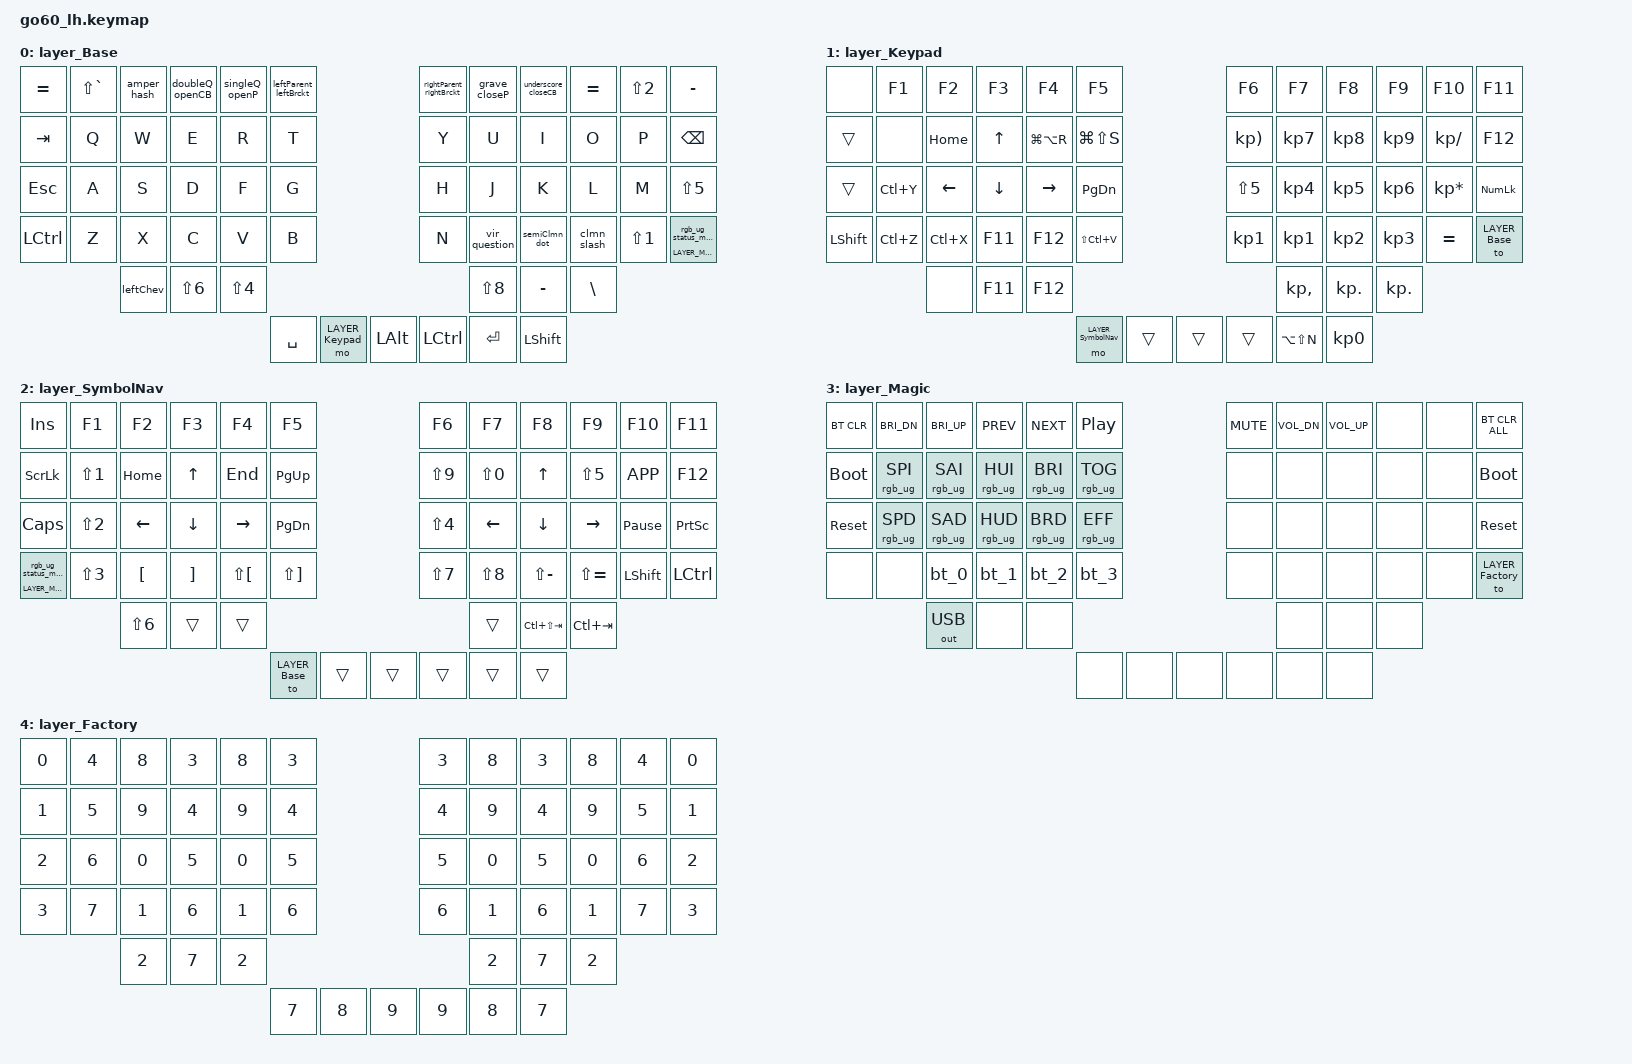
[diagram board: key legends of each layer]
/*
 * Copyright (c) 2020 The ZMK Contributors
 * Copyright (c) 2025 Innaworks Development Limited, trading as MoErgo
 *
 * SPDX-License-Identifier: MIT
 */


/* THIS FILE WAS GENERATED BY GO60 LAYOUT EDITOR
 *
 * This file was generated automatically. You may or may not want to
 * edit it directly.
 */

#include <behaviors.dtsi>

/* Include all behavior includes needed */

#include <dt-bindings/zmk/outputs.h>
#include <dt-bindings/zmk/keys.h>
#include <dt-bindings/zmk/bt.h>
#include <dt-bindings/zmk/rgb.h>

#include <input/processors.dtsi>
#include <dt-bindings/zmk/input_transform.h>
#include <zephyr/dt-bindings/input/input-event-codes.h>

/* On demand includes */
#include <dt-bindings/zmk/input_transform.h>
#include <dt-bindings/zmk/pointing.h>
#include <input/processors.dtsi>

/* Helper Macros, based on https://github.com/urob/zmk-helpers/ */

#pragma once

#define ZMK_HELPER_STRINGIFY(x) #x

// Preprocessor mechanism to overload macros, cf. https://stackoverflow.com/a/27051616/6114651
#define VARGS_(_10, _9, _8, _7, _6, _5, _4, _3, _2, _1, N, ...) N
#define VARGS(...) VARGS_(__VA_ARGS__, 10, 9, 8, 7, 6, 5, 4, 3, 2, 1, 0)
#define CONCAT_(a, b) a##b
#define CONCAT(a, b) CONCAT_(a, b)

#define ZMK_BEHAVIOR_CORE_tap_dance  \
    compatible = "zmk,behavior-tap-dance"; \
    #binding-cells = <0>

#define ZMK_BEHAVIOR(name, type, ...) \
    name: name { \
        ZMK_BEHAVIOR_CORE_ ## type; \
        __VA_ARGS__ \
    };

#define ZMK_TAP_DANCE(name, ...) \
    ZMK_BEHAVIOR(name, tap_dance, __VA_ARGS__)

#define ZMK_TD_LAYER(name, layer) \
    ZMK_TAP_DANCE(name, \
        tapping-term-ms = <200>; \
        bindings = <&mo layer>, <&to layer>; \
)





/* Key positions */

#define POS_LH_C6R1 0
#define POS_LH_C5R1 1
#define POS_LH_C4R1 2
#define POS_LH_C3R1 3
#define POS_LH_C2R1 4
#define POS_LH_C1R1 5
#define POS_RH_C1R1 6
#define POS_RH_C2R1 7
#define POS_RH_C3R1 8
#define POS_RH_C4R1 9
#define POS_RH_C5R1 10
#define POS_RH_C6R1 11
#define POS_LH_C6R2 12
#define POS_LH_C5R2 13
#define POS_LH_C4R2 14
#define POS_LH_C3R2 15
#define POS_LH_C2R2 16
#define POS_LH_C1R2 17
#define POS_RH_C1R2 18
#define POS_RH_C2R2 19
#define POS_RH_C3R2 20
#define POS_RH_C4R2 21
#define POS_RH_C5R2 22
#define POS_RH_C6R2 23
#define POS_LH_C6R3 24
#define POS_LH_C5R3 25
#define POS_LH_C4R3 26
#define POS_LH_C3R3 27
#define POS_LH_C2R3 28
#define POS_LH_C1R3 29
#define POS_RH_C1R3 30
#define POS_RH_C2R3 31
#define POS_RH_C3R3 32
#define POS_RH_C4R3 33
#define POS_RH_C5R3 34
#define POS_RH_C6R3 35
#define POS_LH_C6R4 36
#define POS_LH_C5R4 37
#define POS_LH_C4R4 38
#define POS_LH_C3R4 39
#define POS_LH_C2R4 40
#define POS_LH_C1R4 41
#define POS_RH_C1R4 42
#define POS_RH_C2R4 43
#define POS_RH_C3R4 44
#define POS_RH_C4R4 45
#define POS_RH_C5R4 46
#define POS_RH_C6R4 47
#define POS_LH_C4R5 48
#define POS_LH_C3R5 49
#define POS_LH_C2R5 50
#define POS_RH_C2R5 51
#define POS_RH_C3R5 52
#define POS_RH_C4R5 53
#define POS_LH_T1 54
#define POS_LH_T2 55
#define POS_LH_T3 56
#define POS_RH_T3 57
#define POS_RH_T2 58
#define POS_RH_T1 59


#define LEFT_HAND_KEYS \
  POS_LH_C1R1 POS_LH_C2R1 POS_LH_C3R1 POS_LH_C4R1 POS_LH_C5R1 POS_LH_C6R1 \
  POS_LH_C1R2 POS_LH_C2R2 POS_LH_C3R2 POS_LH_C4R2 POS_LH_C5R2 POS_LH_C6R2 \
  POS_LH_C1R3 POS_LH_C2R3 POS_LH_C3R3 POS_LH_C4R3 POS_LH_C5R3 POS_LH_C6R3 \
  POS_LH_C1R4 POS_LH_C2R4 POS_LH_C3R4 POS_LH_C4R4 POS_LH_C5R4 POS_LH_C6R4 \
              POS_LH_C2R5 POS_LH_C3R5 POS_LH_C4R5

#define RIGHT_HAND_KEYS \
  POS_RH_C1R1 POS_RH_C2R1 POS_RH_C3R1 POS_RH_C4R1 POS_RH_C5R1 POS_RH_C6R1 \
  POS_RH_C1R2 POS_RH_C2R2 POS_RH_C3R2 POS_RH_C4R2 POS_RH_C5R2 POS_RH_C6R2 \
  POS_RH_C1R3 POS_RH_C2R3 POS_RH_C3R3 POS_RH_C4R3 POS_RH_C5R3 POS_RH_C6R3 \
  POS_RH_C1R4 POS_RH_C2R4 POS_RH_C3R4 POS_RH_C4R4 POS_RH_C5R4 POS_RH_C6R4 \
              POS_RH_C2R5 POS_RH_C3R5 POS_RH_C4R5

#define THUMB_KEYS \
  POS_LH_T1 POS_LH_T2 POS_LH_T3 \
  POS_RH_T1 POS_RH_T2 POS_RH_T3

/* Environment and metadata defines */
#define KB_TYPE_GLOVE_80 1
#define KB_TYPE_GO_60    2

#define KB_TYPE          KB_TYPE_GO_60
#define EDITOR_HOST_OS   'W'

/* Automatically generated layer name defines */
#define LAYER_Base 0
#define LAYER_Keypad 1
#define LAYER_SymbolNav 2
#define LAYER_Magic 3
#define LAYER_Factory 4

/* To deal with the situation where there is no Lower layer, to keep &lower happy */
#ifndef LAYER_Lower
#define LAYER_Lower 0
#endif

/* Generated input processors */
/ {
    input_processors {
        zip_click_to_right_click_mapper: zip_click_to_right_click_mapper {
            compatible = "zmk,input-processor-code-mapper";
            #input-processor-cells = <0>;
            type = <INPUT_EV_KEY>;
            map = <INPUT_BTN_0 INPUT_BTN_1>;
        };
    };
};

/* Custom Device-tree */


/* Input Listeners */
&cirque_rh_listener {
    layer_SymbolNav {
        layers = <LAYER_SymbolNav>;
        input-processors = <&zip_xy_scaler 9 1>;
    };
};

&cirque_lh_listener {
    input-processors = <&zip_xy_scaler 8 15>, <&zip_xy_transform INPUT_TRANSFORM_Y_INVERT>, <&zip_xy_to_scroll_mapper>, <&zip_click_to_right_click_mapper>;
    layer_Factory {
        layers = <LAYER_Factory>;
        input-processors = <&zip_xy_scaler 3 1>;
    };
};

/* System behavior and macros */
/ {
    behaviors {
        ZMK_TD_LAYER(lower, LAYER_Lower)
    };
};

/ {
    macros {
        rgb_ug_status_macro: rgb_ug_status_macro {
            label = "RGB_UG_STATUS";
            compatible = "zmk,behavior-macro";
            #binding-cells = <0>;
            bindings
                = <&rgb_ug RGB_STATUS>;
        };
    };
};

/ {
#ifdef BT_DISC_CMD
    behaviors {
        bt_0: bt_0 {
            compatible = "zmk,behavior-tap-dance";
            label = "BT_0";
            #binding-cells = <0>;
            tapping-term-ms = <200>;
            bindings = <&bt_select_0>, <&bt BT_DISC 0>;
        };
        bt_1: bt_1 {
            compatible = "zmk,behavior-tap-dance";
            label = "BT_1";
            #binding-cells = <0>;
            tapping-term-ms = <200>;
            bindings = <&bt_select_1>, <&bt BT_DISC 1>;
        };
        bt_2: bt_2 {
            compatible = "zmk,behavior-tap-dance";
            label = "BT_2";
            #binding-cells = <0>;
            tapping-term-ms = <200>;
            bindings = <&bt_select_2>, <&bt BT_DISC 2>;
        };
        bt_3: bt_3 {
            compatible = "zmk,behavior-tap-dance";
            label = "BT_3";
            #binding-cells = <0>;
            tapping-term-ms = <200>;
            bindings = <&bt_select_3>, <&bt BT_DISC 3>;
        };
    };
    macros {
        bt_select_0: bt_select_0 {
            label = "BT_SELECT_0";
            compatible = "zmk,behavior-macro";
            #binding-cells = <0>;
            bindings
                = <&out OUT_BLE>,
                  <&bt BT_SEL 0>;
        };
        bt_select_1: bt_select_1 {
            label = "BT_SELECT_1";
            compatible = "zmk,behavior-macro";
            #binding-cells = <0>;
            bindings
                = <&out OUT_BLE>,
                  <&bt BT_SEL 1>;
        };
        bt_select_2: bt_select_2 {
            label = "BT_SELECT_2";
            compatible = "zmk,behavior-macro";
            #binding-cells = <0>;
            bindings
                = <&out OUT_BLE>,
                  <&bt BT_SEL 2>;
        };
        bt_select_3: bt_select_3 {
            label = "BT_SELECT_3";
            compatible = "zmk,behavior-macro";
            #binding-cells = <0>;
            bindings
                = <&out OUT_BLE>,
                  <&bt BT_SEL 3>;
        };
    };
#else
    macros {
        bt_0: bt_0 {
            label = "BT_0";
            compatible = "zmk,behavior-macro";
            #binding-cells = <0>;
            bindings
                = <&out OUT_BLE>,
                  <&bt BT_SEL 0>;
        };
        bt_1: bt_1 {
            label = "BT_1";
            compatible = "zmk,behavior-macro";
            #binding-cells = <0>;
            bindings
                = <&out OUT_BLE>,
                  <&bt BT_SEL 1>;
        };
        bt_2: bt_2 {
            label = "BT_2";
            compatible = "zmk,behavior-macro";
            #binding-cells = <0>;
            bindings
                = <&out OUT_BLE>,
                  <&bt BT_SEL 2>;
        };
        bt_3: bt_3 {
            label = "BT_3";
            compatible = "zmk,behavior-macro";
            #binding-cells = <0>;
            bindings
                = <&out OUT_BLE>,
                  <&bt BT_SEL 3>;
        };
    };
#endif
};

/ {
    behaviors {
        magic: magic {
            compatible = "zmk,behavior-hold-tap";
            label = "MAGIC_HOLD_TAP";
            #binding-cells = <2>;
            flavor = "tap-preferred";
            tapping-term-ms = <200>;
            bindings = <&mo>, <&rgb_ug_status_macro>;
        };
    };
};


/* Custom Defined Behaviors */
/ {
behaviors {
    vir_question: vir_question {
        compatible = "zmk,behavior-mod-morph";
        #binding-cells = <0>;
        bindings = <&kp COMMA>, <&kp QMARK>;
        mods = <(MOD_LSFT|MOD_RSFT)>;
    }; 
};

behaviors {
    doubleQ_openCB: doubleQ_openCB{
        compatible = "zmk,behavior-mod-morph";
        #binding-cells = <0>;
        bindings = <&kp LS(SINGLE_QUOTE)>, <&kp LS(LBKT)>;
        mods = <(MOD_LSFT|MOD_RSFT)>;
    }; 
};

behaviors {
    singleQ_openP: singleQ_openP{
        compatible = "zmk,behavior-mod-morph";
        #binding-cells = <0>;
        bindings = <&kp SINGLE_QUOTE>, <&kp LS(N9)>;
        mods = <(MOD_LSFT|MOD_RSFT)>;
    }; 
};

behaviors {
    grave_closeP: grave_closeP{
        compatible = "zmk,behavior-mod-morph";
        #binding-cells = <0>;
        bindings = <&kp GRAVE>, <&kp LS(N0)>;
        mods = <(MOD_LSFT|MOD_RSFT)>;
    }; 
};

behaviors {
    underscore_closeCB: underscore_closeCB{
        compatible = "zmk,behavior-mod-morph";
        #binding-cells = <0>;
        bindings = <&kp LS(MINUS)>, <&kp LS(RBKT)>;
        mods = <(MOD_LSFT|MOD_RSFT)>;
    }; 
};

behaviors {
    semiClmn_dot: semiClmn_dot{
        compatible = "zmk,behavior-mod-morph";
        #binding-cells = <0>;
        bindings = <&kp SEMICOLON>, <&kp DOT>;
        mods = <(MOD_LSFT|MOD_RSFT)>;
    }; 
};

behaviors {
    clmn_slash: clmn_slash{
        compatible = "zmk,behavior-mod-morph";
        #binding-cells = <0>;
        bindings = <&kp LS(SEMI)>, <&kp SLASH>;
        mods = <(MOD_LSFT|MOD_RSFT)>;
    }; 
};

behaviors {
    plus_eql: plus_eql{
        compatible = "zmk,behavior-mod-morph";
        #binding-cells = <0>;
        bindings = <&kp LS(EQUAL)>, <&kp EQUAL>;
        mods = <(MOD_LSFT|MOD_RSFT)>;
    }; 
};

behaviors {
    leftParent_leftBrckt: leftParent_leftBrckt {
        compatible = "zmk,behavior-mod-morph";
        #binding-cells = <0>;
        bindings = <&kp LS(N9)>, <&kp LEFT_BRACKET>;
        mods = <(MOD_LSFT|MOD_RSFT)>;
    }; 
};

behaviors {
    rightParent_rightBrckt: rightParent_rightBrckt {
        compatible = "zmk,behavior-mod-morph";
        #binding-cells = <0>;
        bindings = <&kp LS(N0)>, <&kp RIGHT_BRACKET>;
        mods = <(MOD_LSFT|MOD_RSFT)>;
    }; 
};

behaviors {
    amper_hash: amper_hash {
        compatible = "zmk,behavior-mod-morph";
        #binding-cells = <0>;
        bindings = <&kp LS(N7)>, <&kp LS(N3)>;
        mods = <(MOD_LSFT|MOD_RSFT)>;
    }; 
};

behaviors {
    leftChev: leftChev {
        compatible = "zmk,behavior-mod-morph";
        #binding-cells = <0>;
        bindings = <&kp LS(COMMA)>, <&kp LS(DOT)>;
        mods = <(MOD_LSFT|MOD_RSFT)>;
    }; 
};
};

/* Automatically generated macro definitions */
/ {
    macros {

    };
};

/* Automatically generated behavior definitions */
/ {
    behaviors {


    };
};

/* Automatically generated combos definitions */


/* Automatically generated keymap */
/ {
    keymap {
        compatible = "zmk,keymap";


        layer_Base {
            bindings = <
 &kp EQUAL  &kp LS(GRAVE)  &amper_hash  &doubleQ_openCB  &singleQ_openP  &leftParent_leftBrckt                                                                        &rightParent_rightBrckt  &grave_closeP  &underscore_closeCB    &kp EQUAL  &kp LS(N2)             &kp MINUS
   &kp TAB          &kp Q        &kp W            &kp E           &kp R                  &kp T                                                                                          &kp Y          &kp U                &kp I        &kp O       &kp P              &kp BSPC
   &kp ESC          &kp A        &kp S            &kp D           &kp F                  &kp G                                                                                          &kp H          &kp J                &kp K        &kp L       &kp M            &kp LS(N5)
 &kp LCTRL          &kp Z        &kp X            &kp C           &kp V                  &kp B                                                                                          &kp N  &vir_question        &semiClmn_dot  &clmn_slash  &kp LS(N1)  &magic LAYER_Magic 0
                             &leftChev       &kp LS(N6)      &kp LS(N4)                                                                                                                           &kp LS(N8)            &kp MINUS     &kp BSLH
                                                                                                &kp SPACE  &mo LAYER_Keypad  &kp LALT  &kp LCTRL  &kp RET  &kp LSHFT
            >;
        };

        layer_Keypad {
            bindings = <
     &none     &kp F1     &kp F2    &kp F3         &kp F4         &kp F5                                                                              &kp F6        &kp F7      &kp F8      &kp F9          &kp F10         &kp F11
    &trans      &none   &kp HOME    &kp UP  &kp LG(LA(R))  &kp LG(LS(S))                                                                         &kp KP_RPAR     &kp KP_N7   &kp KP_N8   &kp KP_N9     &kp KP_SLASH         &kp F12
    &trans  &kp LC(Y)   &kp LEFT  &kp DOWN      &kp RIGHT      &kp PG_DN                                                                          &kp LS(N5)     &kp KP_N4   &kp KP_N5   &kp KP_N6  &kp KP_MULTIPLY      &kp KP_NUM
 &kp LSHFT  &kp LC(Z)  &kp LC(X)   &kp F11        &kp F12  &kp LS(LC(V))                                                                           &kp KP_N1     &kp KP_N1   &kp KP_N2   &kp KP_N3        &kp EQUAL  &to LAYER_Base
                           &none   &kp F11        &kp F12                                                                                                     &kp KP_COMMA  &kp KP_DOT  &kp KP_DOT
                                                                          &mo LAYER_SymbolNav  &trans  &trans  &trans  &kp LA(LS(N))  &kp KP_N0
            >;
        };

        layer_SymbolNav {
            bindings = <
              &kp INS      &kp F1      &kp F2    &kp F3        &kp F4        &kp F5                                                              &kp F6      &kp F7           &kp F8         &kp F9          &kp F10    &kp F11
             &kp SLCK  &kp LS(N1)    &kp HOME    &kp UP       &kp END     &kp PG_UP                                                          &kp LS(N9)  &kp LS(N0)           &kp UP     &kp LS(N5)        &kp K_APP    &kp F12
             &kp CAPS  &kp LS(N2)    &kp LEFT  &kp DOWN     &kp RIGHT     &kp PG_DN                                                          &kp LS(N4)    &kp LEFT         &kp DOWN      &kp RIGHT  &kp PAUSE_BREAK  &kp PSCRN
 &magic LAYER_Magic 0  &kp LS(N3)    &kp LBKT  &kp RBKT  &kp LS(LBKT)  &kp LS(RBKT)                                                          &kp LS(N7)  &kp LS(N8)    &kp LS(MINUS)  &kp LS(EQUAL)        &kp LSHFT  &kp LCTRL
                                   &kp LS(N6)    &trans        &trans                                                                                        &trans  &kp LC(LS(TAB))    &kp LC(TAB)
                                                                                     &to LAYER_Base  &trans  &trans  &trans  &trans  &trans
            >;
        };

        layer_Magic {
            bindings = <
  &bt BT_CLR     &kp C_BRI_DN     &kp C_BRI_UP       &kp C_PREV       &kp C_NEXT         &kp C_PP                                                  &kp C_MUTE  &kp C_VOL_DN  &kp C_VOL_UP   &none   &none     &bt BT_CLR_ALL
 &bootloader  &rgb_ug RGB_SPI  &rgb_ug RGB_SAI  &rgb_ug RGB_HUI  &rgb_ug RGB_BRI  &rgb_ug RGB_TOG                                                       &none         &none         &none   &none   &none        &bootloader
  &sys_reset  &rgb_ug RGB_SPD  &rgb_ug RGB_SAD  &rgb_ug RGB_HUD  &rgb_ug RGB_BRD  &rgb_ug RGB_EFF                                                       &none         &none         &none   &none   &none         &sys_reset
       &none            &none            &bt_0            &bt_1            &bt_2            &bt_3                                                       &none         &none         &none   &none   &none  &to LAYER_Factory
                                  &out OUT_USB            &none            &none                                                                                      &none         &none   &none
                                                                                                    &none   &none   &none   &none   &none   &none
            >;
        };

        layer_Factory {
            bindings = <
 &kp N0  &kp N4  &kp N8  &kp N3  &kp N8  &kp N3                                                  &kp N3  &kp N8  &kp N3  &kp N8  &kp N4  &kp N0
 &kp N1  &kp N5  &kp N9  &kp N4  &kp N9  &kp N4                                                  &kp N4  &kp N9  &kp N4  &kp N9  &kp N5  &kp N1
 &kp N2  &kp N6  &kp N0  &kp N5  &kp N0  &kp N5                                                  &kp N5  &kp N0  &kp N5  &kp N0  &kp N6  &kp N2
 &kp N3  &kp N7  &kp N1  &kp N6  &kp N1  &kp N6                                                  &kp N6  &kp N1  &kp N6  &kp N1  &kp N7  &kp N3
                 &kp N2  &kp N7  &kp N2                                                                  &kp N2  &kp N7  &kp N2
                                                 &kp N7  &kp N8  &kp N9  &kp N9  &kp N8  &kp N7
            >;
        };

    };
};
